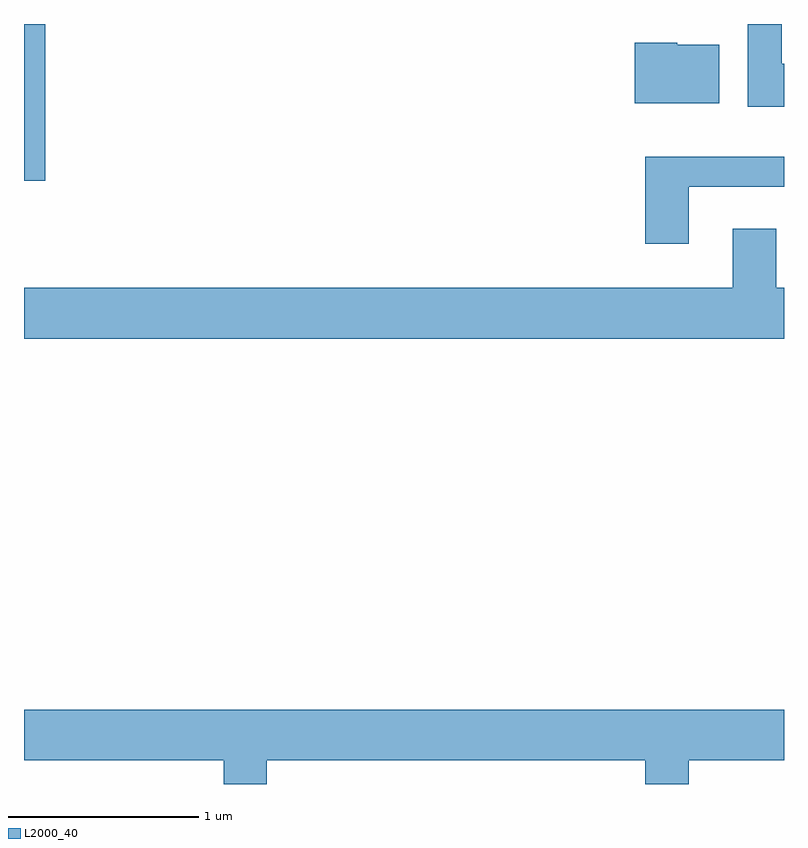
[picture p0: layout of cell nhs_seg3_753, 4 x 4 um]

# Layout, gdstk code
import gdstk
lib = gdstk.Library(unit=1e-6, precision=1e-09)
def R(c, l, rs):  # rectangles x0, y0, x1, y1
    for r in rs: c.add(gdstk.rectangle(r[:2], r[2:], *l))
def P(c, l, *ps):  # polygons
    for p in ps: c.add(gdstk.Polygon(p, *l))
L2000_40 = (2000, 40)

nhs_seg3_753 = lib.new_cell('nhs_seg3_753')
R(nhs_seg3_753, L2000_40, [(207.611,1129.066,207.724,1129.892)])
P(nhs_seg3_753, L2000_40, [(211.611,1129.684),(211.599,1129.684),(211.599,1129.892),(211.421,1129.892),(211.421,1129.456),(211.611,1129.456)],
  [(211.269,1129.784),(211.05,1129.784),(211.05,1129.794),(210.826,1129.794),(210.826,1129.476),(211.269,1129.476)],
  [(211.109,1129.036),(211.611,1129.036),(211.611,1129.194),(210.881,1129.194),(210.881,1128.736),(211.109,1128.736)],
  [(211.611,1128.504),(211.569,1128.504),(211.569,1128.814),(211.341,1128.814),(211.341,1128.504),(207.611,1128.504),(207.611,1128.236),(211.611,1128.236)],
  [(208.889,1126.016),(210.881,1126.016),(210.881,1125.892),(211.109,1125.892),(211.109,1126.016),(211.611,1126.016),(211.611,1126.284),(207.611,1126.284),(207.611,1126.016),(208.661,1126.016),(208.661,1125.892),(208.889,1125.892)])

lib.write_gds('nhs_seg3_753.gds')
